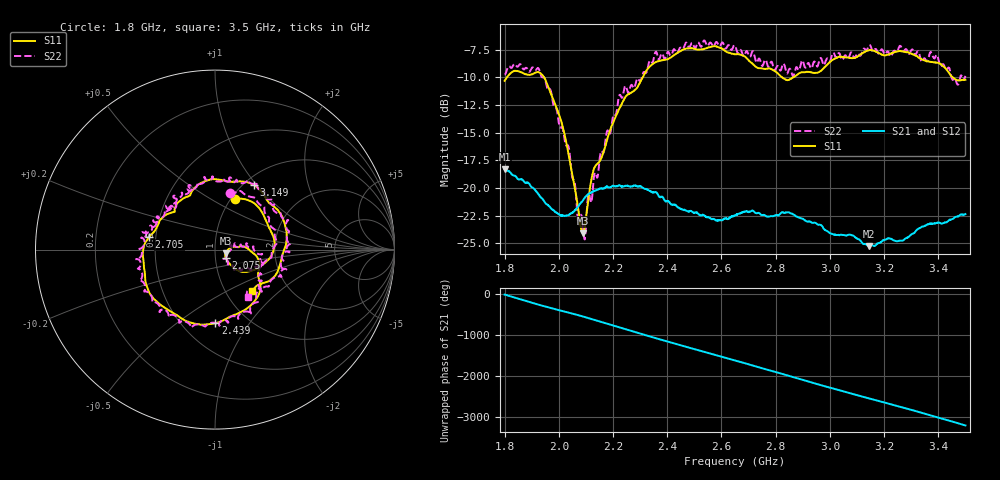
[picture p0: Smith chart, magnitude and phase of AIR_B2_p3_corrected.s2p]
! Created with skrf 1.9.0 (http://scikit-rf.org).
# Hz S RI R 50.0
!freq ReS11 ImS11 ReS21 ImS21 ReS12 ImS12 ReS22 ImS22
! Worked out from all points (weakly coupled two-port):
!   1601 points, 1.8 GHz to 3.5 GHz, reference 50 ohm
!   highest |S21| = -18.31 dB at 1.8 GHz (marker M1); lowest = -25.3 dB at 3.144 GHz (marker M2)
!   lowest |S11| = -24.1 dB at 2.089 GHz (marker M3), VSWR 1.13, Z = 56.2 - j2.42 ohm
!   |S11| at or under -10 dB: 1.946 GHz to 2.309 GHz (363.1 MHz wide, 17.1 % of centre); 2.824 GHz to 2.864 GHz (39.56 MHz wide, 1.39 % of centre); 3.454 GHz to end of sweep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
!   |S22| runs from -24.7 to -6.6 dB; largest |S21 - S12| = 0.0021
!   S11 on the Smith chart (normalised r, x): 1.8 GHz: 1.05, +0.65; 2.075 GHz: 1.12, -0.10; 2.439 GHz: 0.71, -0.70; 2.705 GHz: 0.46, +0.07; 3.149 GHz: 1.11, +0.97; 3.5 GHz: 1.32, -0.67
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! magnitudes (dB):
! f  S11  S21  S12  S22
! 1.8 GHz  -10.3  -18.3  -18.3  -9.7
! 1.856 GHz  -9.5  -19.2  -19.2  -8.8
! 1.948 GHz  -10.1  -21.3  -21.3  -10.1
! 2.006 GHz  -13.7  -22.5  -22.4  -14.5
! 2.035 GHz  -16.8  -22.5  -22.4  -16.2
! 2.075 GHz  -22.5  -21.5  -21.5  -23.2
! 2.084 GHz  -23.8  -21.3  -21.2  -22.5
! 2.089 GHz  -24.1  -21.1  -21.1  -23.5
! 2.128 GHz  -18.3  -20.3  -20.3  -19.3
! 2.224 GHz  -12.8  -19.8  -19.8  -11.6
! 2.367 GHz  -8.5  -20.7  -20.6  -8.3
! 2.439 GHz  -7.7  -21.7  -21.7  -7.8
! 2.65 GHz  -7.9  -22.5  -22.5  -7.1
! 2.705 GHz  -8.6  -22.1  -22.1  -8.1
! 2.841 GHz  -10.2  -22.2  -22.3  -9.6
! 2.934 GHz  -9.6  -23.1  -23.1  -9.1
! 3.144 GHz  -7.5  -25.3  -25.2  -7.1
! 3.149 GHz  -7.5  -25.2  -25.2  -7.1
! 3.217 GHz  -7.9  -24.6  -24.5  -7.8
! 3.375 GHz  -8.6  -23.3  -23.2  -7.8
! 3.468 GHz  -10.2  -22.6  -22.6  -10.5
! 3.5 GHz  -10.2  -22.4  -22.3  -9.9
